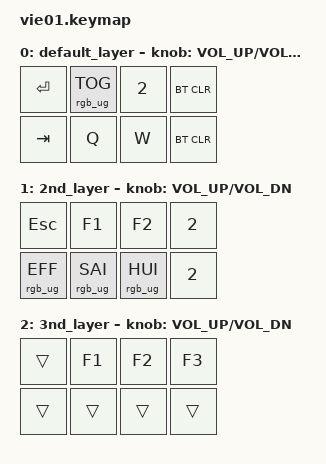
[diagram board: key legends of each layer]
/*
 * Copyright (c) 2021 Nick Winans
 *
 * SPDX-License-Identifier: MIT
 */

#include <behaviors.dtsi>
#include <dt-bindings/zmk/keys.h>
#include <dt-bindings/zmk/rgb.h>
#include <dt-bindings/zmk/bt.h>

/ {
    keymap {
        compatible = "zmk,keymap";

        default_layer {
            // ------------------------------------------------------------------------------------------
            // | ESC |  1  |  2  |  3  |  4  |  5  |  6  |  7  |  8  |  9  |  0  |  -  |  =  | BSPC |DEL|
            // | TAB  |  Q  |  W  |  E  |  R  |  T  |  Y  |  U  |  I  |  O  |  P  |  [  |  ]  |   "|"   |
            // | CAPS  |  A  |  S  |  D  |  F  |  G  |  H  |  J  |  K  |  L  |  ;  |  '  |     ENTER    |
            // |  SHIFT  |  Z  |  X  |  C  |  V  |  B  |  N  |  M  |  ,  |  .  |  /  |      SHIFT       |
            // |  CTL  |  WIN  |  ALT  |            SPACE              |  ALT  |  WIN  |  MO(1) |  CTL  |
            // ------------------------------------------------------------------------------------------

            bindings = <
&kp RET  &rgb_ug RGB_TOG  &kp N2  &bt BT_CLR
&kp TAB            &kp Q   &kp W  &bt BT_CLR
            >;

            sensor-bindings = <&inc_dec_kp C_VOL_UP C_VOL_DN>;
        };

        2nd_layer {

        // ------------------------------------------------------------------------------------------
        // | boot | BT CLR | BT1 | BT2 | BT3 | BT4 | BT5 | TRNS | TRNS | TRNS | TRNS | TRNS | TRNS |  TRNS  |
        // | TRNS | TRNS |  UP  | TRNS | TRNS | TRNS | TRNS | TRNS | TRNS | TRNS | TRNS | TRNS | TRNS | TRNS |
        // | TRNS | LEFT | DOWN | RGHT | TRNS | TRNS | TRNS | TRNS | TRNS | TRNS | TRNS | TRNS | TRNS |
        // | TRNS | TRNS | TRNS | TRNS | TRNS | TRNS | TRNS | TRNS | TRNS | TRNS | TRNS | TRNS |
        // | TRNS  | TRNS  |  TRNS |             TRNS              | TRNS  |  TRNS |  TRNS | TRNS  |
        // ------------------------------------------------------------------------------------------

        bindings = <
	&kp ESC            &kp F1          &kp F2     &kp N2 
	&rgb_ug RGB_EFF    &rgb_ug RGB_SAI &rgb_ug RGB_HUI &kp N2 
        >;

        sensor-bindings = <&inc_dec_kp C_VOL_UP C_VOL_DN>;
    };

    3nd_layer {

    // ------------------------------------------------------------------------------------------
    // | boot | F1 | F2 | F3 | F4 | F5 | F6 | F7 | F8 | F9 | F10 | F11 | F12 |  TRNS  |
    // | TRNS | TRNS | TRNS | TRNS | TRNS | TRNS | TRNS | TRNS | TRNS | TRNS | TRNS | TRNS | TRNS | TRNS |
    // | TRNS | TRNS | TRNS | TRNS | TRNS | TRNS | TRNS | TRNS | TRNS | TRNS | TRNS | TRNS | TRNS |
    // | TRNS | TRNS | VOL_DN | VOL_UP | PREV | NEXT | TRNS | TRNS | TRNS | TRNS | TRNS | TRNS |
    // | TRNS  | TRNS  |  TRNS |             PLAY/PAUS              | TRNS  |  TRNS |  TRNS | TRNS  |
    // ------------------------------------------------------------------------------------------

    bindings = <
	&trans      &kp F1     &kp F2          &kp F3       
	&trans      &trans     &trans          &trans
    >;

    sensor-bindings = <&inc_dec_kp C_VOL_UP C_VOL_DN>;
};

};
};
